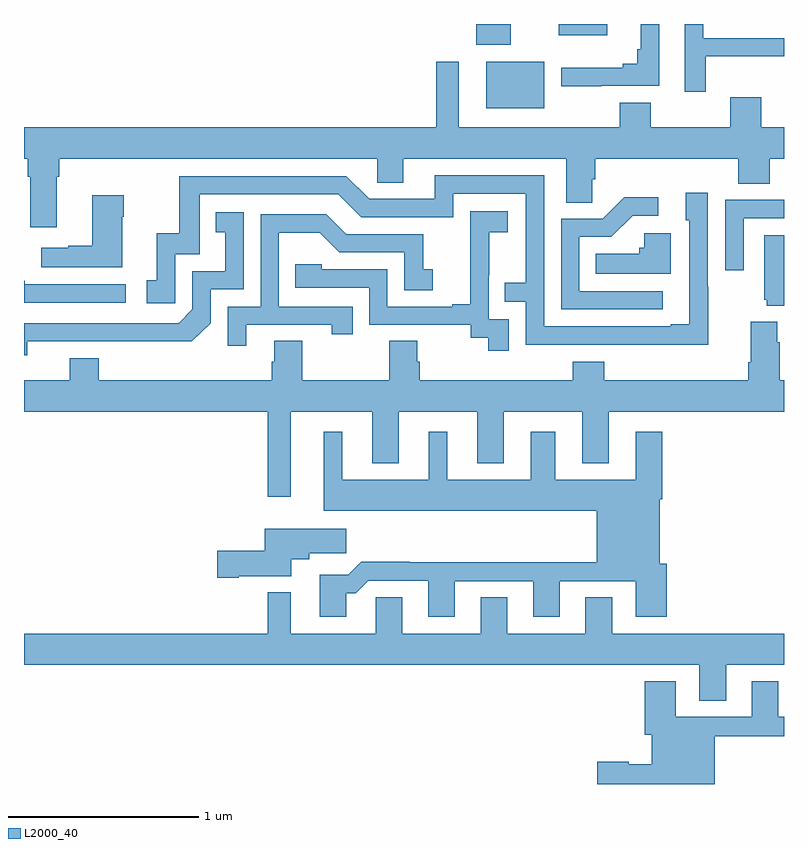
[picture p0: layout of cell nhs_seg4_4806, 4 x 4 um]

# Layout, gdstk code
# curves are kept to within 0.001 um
import gdstk
lib = gdstk.Library(unit=1e-6, precision=1e-09)
def R(c, l, rs):  # rectangles x0, y0, x1, y1
    for r in rs: c.add(gdstk.rectangle(r[:2], r[2:], *l))
def P(c, l, *ps):  # polygons
    for p in ps: c.add(gdstk.Polygon(p, *l))
L2000_40 = (2000, 40)

nhs_seg4_4806 = lib.new_cell('nhs_seg4_4806')
R(nhs_seg4_4806, L2000_40, [(373.433,758.456,373.738,758.701), (373.38,758.792,373.563,758.9), (373.814,758.84,374.071,758.9)])
P(nhs_seg4_4806, L2000_40, [(374.039,758.574),(374.344,758.574),(374.344,758.9),(374.246,758.9),(374.246,758.767),(374.227,758.767),(374.227,758.69),(374.15,758.69),(374.15,758.671),(373.827,758.671),(373.827,758.573),(374.039,758.573)],
  [(374.587,758.729),(374.966,758.729),(374.966,758.73),(375,758.73),(375,758.826),(374.574,758.826),(374.574,758.9),(374.477,758.9),(374.477,758.544),(374.587,758.544)],
  [(371.173,758.096),(371.186,758.096),(371.186,758.192),(372.858,758.192),(372.858,758.065),(372.997,758.065),(372.997,758.192),(373.853,758.192),(373.853,757.96),(373.992,757.96),(373.992,758.083),(374.006,758.083),(374.006,758.192),(374.759,758.192),(374.759,758.059),(374.924,758.059),(374.924,758.192),(375,758.192),(375,758.356),(374.881,758.356),(374.881,758.515),(374.717,758.515),(374.717,758.356),(374.299,758.356),(374.299,758.485),(374.135,758.485),(374.135,758.356),(373.288,758.356),(373.288,758.701),(373.171,758.701),(373.171,758.356),(371,758.356),(371,758.192),(371.021,758.192),(371.021,758.096),(371.033,758.096),(371.033,757.83),(371.173,757.83)],
  [(374.601,757.517),(374.598,757.517),(374.598,758.011),(374.483,758.011),(374.483,757.866),(374.502,757.866),(374.502,757.321),(374.405,757.321),(374.405,757.308),(373.737,757.308),(373.737,758.103),(373.163,758.103),(373.163,757.98),(372.816,757.98),(372.696,758.1),(371.817,758.1),(371.817,757.798),(371.699,757.798),(371.699,757.551),(371.646,757.551),(371.646,757.431),(371.796,757.431),(371.796,757.689),(371.925,757.689),(371.925,758.004),(372.654,758.004),(372.774,757.884),(373.26,757.884),(373.26,758.007),(373.641,758.007),(373.641,757.538),(373.531,757.538),(373.531,757.437),(373.641,757.437),(373.641,757.212),(374.601,757.211)],
  [(371.518,757.886),(371.526,757.886),(371.526,757.999),(371.36,757.999),(371.36,757.733),(371.234,757.733),(371.234,757.723),(371.091,757.723),(371.091,757.619),(371.518,757.619)],
  [(374.362,757.494),(373.923,757.494),(373.923,757.779),(374.092,757.779),(374.203,757.89),(374.338,757.89),(374.338,757.988),(374.159,757.988),(374.046,757.875),(373.827,757.875),(373.827,757.398),(374.362,757.398)],
  [(374.787,757.878),(375,757.878),(375,757.974),(374.691,757.974),(374.691,757.605),(374.787,757.605)],
  [(373.551,757.347),(373.446,757.347),(373.446,757.577),(373.448,757.577),(373.448,757.805),(373.546,757.805),(373.546,757.915),(373.348,757.915),(373.348,757.709),(373.349,757.709),(373.349,757.426),(373.253,757.426),(373.253,757.413),(372.912,757.413),(372.912,757.608),(372.567,757.608),(372.567,757.635),(372.427,757.635),(372.427,757.512),(372.816,757.512),(372.816,757.317),(373.35,757.317),(373.35,757.249),(373.443,757.249),(373.443,757.179),(373.551,757.179)],
  [(371.016,757.23),(371.884,757.229),(371.982,757.326),(371.982,757.503),(372.156,757.503),(372.156,757.909),(372.01,757.909),(372.01,757.803),(372.059,757.803),(372.059,757.599),(371.886,757.599),(371.886,757.398),(371.814,757.326),(371,757.326),(371,757.157),(371.016,757.157)],
  [(372.169,757.317),(372.62,757.317),(372.62,757.266),(372.731,757.266),(372.731,757.413),(372.342,757.413),(372.342,757.802),(372.556,757.802),(372.66,757.698),(373.002,757.698),(373.002,757.5),(373.15,757.5),(373.15,757.609),(373.101,757.609),(373.101,757.794),(372.697,757.794),(372.592,757.899),(372.246,757.899),(372.246,757.413),(372.072,757.413),(372.072,757.206),(372.169,757.206)],
  [(374.404,757.798),(374.265,757.798),(374.265,757.722),(374.239,757.722),(374.239,757.69),(374.008,757.69),(374.008,757.586),(374.404,757.586)],
  [(375,757.789),(374.897,757.789),(374.897,757.449),(374.909,757.449),(374.909,757.418),(375,757.418)],
  [(371.536,757.53),(371.003,757.53),(371.003,757.55),(371,757.55),(371,757.434),(371.536,757.434)],
  [(372.403,756.86),(372.833,756.86),(372.833,756.587),(372.973,756.587),(372.973,756.86),(373.385,756.86),(373.385,756.587),(373.525,756.587),(373.525,756.86),(373.937,756.86),(373.937,756.587),(374.077,756.587),(374.077,756.86),(375,756.86),(375,757.024),(374.978,757.024),(374.978,757.226),(374.965,757.226),(374.965,757.333),(374.825,757.333),(374.825,757.12),(374.813,757.12),(374.813,757.024),(374.054,757.024),(374.054,757.123),(373.889,757.123),(373.889,757.024),(373.082,757.024),(373.082,757.122),(373.069,757.122),(373.069,757.232),(372.922,757.232),(372.922,757.024),(372.465,757.024),(372.465,757.232),(372.317,757.232),(372.317,757.122),(372.305,757.122),(372.305,757.024),(371.393,757.024),(371.393,757.141),(371.24,757.141),(371.24,757.024),(371,757.024),(371,756.86),(372.282,756.86),(372.282,756.411),(372.403,756.411)],
  [(372.697,755.903),(372.746,755.903),(372.813,755.97),(373.127,755.97),(373.127,755.781),(373.267,755.781),(373.267,755.967),(373.679,755.967),(373.679,755.781),(373.819,755.781),(373.819,755.967),(374.219,755.967),(374.219,755.781),(374.384,755.781),(374.384,756.06),(374.347,756.06),(374.347,756.398),(374.36,756.398),(374.36,756.754),(374.219,756.754),(374.219,756.502),(373.795,756.502),(373.795,756.754),(373.667,756.754),(373.667,756.502),(373.228,756.502),(373.228,756.754),(373.13,756.754),(373.13,756.502),(372.676,756.502),(372.676,756.754),(372.578,756.754),(372.578,756.338),(374.015,756.338),(374.015,756.068),(373.031,756.068),(373.031,756.071),(372.776,756.071),(372.706,756.001),(372.557,756.001),(372.557,755.781),(372.697,755.781)],
  [(372.13,755.993),(372.406,755.993),(372.406,756.083),(372.502,756.083),(372.502,756.115),(372.697,756.115),(372.697,756.244),(372.266,756.244),(372.266,756.128),(372.018,756.128),(372.018,755.986),(372.13,755.986)],
  [(374.695,755.528),(375,755.528),(375,755.692),(374.095,755.692),(374.095,755.882),(373.955,755.882),(373.955,755.692),(373.543,755.692),(373.543,755.882),(373.403,755.882),(373.403,755.692),(372.991,755.692),(372.991,755.882),(372.852,755.882),(372.852,755.692),(372.403,755.692),(372.403,755.908),(372.282,755.908),(372.282,755.692),(371,755.692),(371,755.528),(374.555,755.528),(374.555,755.338),(374.695,755.338)],
  [(374.635,755.152),(375,755.152),(375,755.253),(374.971,755.253),(374.971,755.44),(374.831,755.44),(374.831,755.253),(374.431,755.253),(374.431,755.44),(374.267,755.44),(374.267,755.16),(374.303,755.16),(374.303,755.005),(374.183,755.005),(374.183,755.018),(374.016,755.018),(374.016,754.9),(374.635,754.9)])

lib.write_gds('nhs_seg4_4806.gds')
